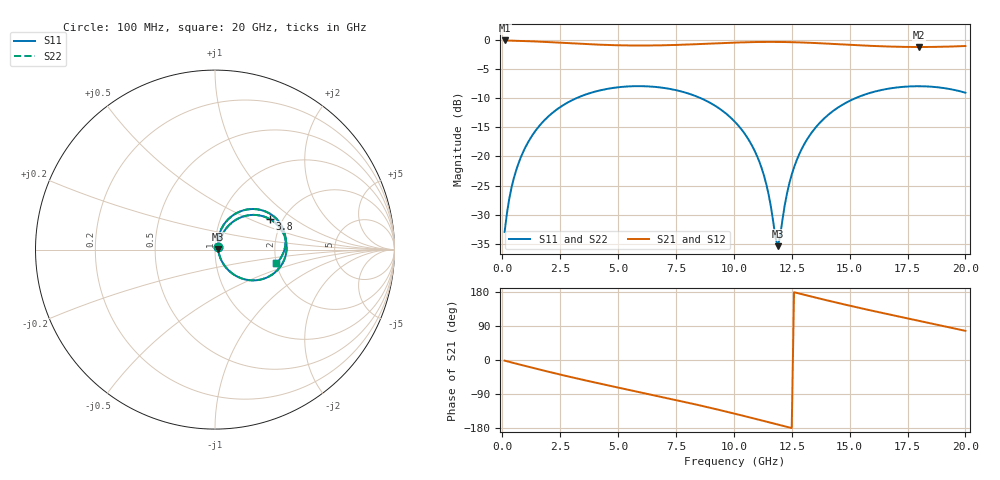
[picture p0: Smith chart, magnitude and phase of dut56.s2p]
! Touchstone file exported from HFSS 2026.1.0
!  File:  C:/ffzhzh/LocalFiles/Ansys_Project_Files/temp_train_TSV_RDL_56_1782967835_45568.aedt
!  Generated:  01:00:54 PM Jul  2, 2026
!  Design:  TSV_RDL
!  Project:  temp_train_TSV_RDL_56_1782967835_45568
! Variables:
!  h_bsmrdl = 4.36um
!  h_ox = 20um
!  h_rdl = 5um
!  h_sub = 98.95um
!  h_tmrdl = 3.3um
!  h_tsv = 98.95um
!  h_via = 3um
!  l_bsmrdl = 915.83um
!  l_sub = 4521.39um
!  l_tmrdl = 311.84um
!  m_sub = 200um
!  pitch = 45.01um
!  r_tsv = 11.96um
!  s_tmrdl = 10um
!  w_bsmrdl = 26.1um
!  w_sub = 500um
!  w_tmrdl = 16.08um
!  x_tsv_center1 = 319.88um
!  x_tsv_center2 = 1261.81um
!  x_tsv_center3 = 1589.73um
!  x_tsv_center4 = 2531.66um
!  x_tsv_center5 = 2859.58um
!  x_tsv_center6 = 3801.51um
# GHz S MA R 50.000000
! Terminal data exported
! Port[1] = TM_RDL1_1_T1
! Port[2] = TM_RDL5_1_T1
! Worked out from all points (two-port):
!   200 points, 100 MHz to 20 GHz, reference 50 ohm
!   highest |S21| = -0.16 dB at 100 MHz (marker M1); lowest = -1.3 dB at 18 GHz (marker M2)
!   |S21| within 3 dB of the highest: start of sweep to end of sweep
!   lowest |S11| = -35.3 dB at 11.9 GHz (marker M3), VSWR 1.03, Z = 51.7 + j0.29 ohm
!   |S11| at or under -10 dB: start of sweep to 3.222 GHz; 8.55 GHz to 15.27 GHz (6.722 GHz wide, 56.4 % of centre)
!   |S22| runs from -35.4 to -8.0 dB; largest |S21 - S12| = 1.7e-14
!   S11 on the Smith chart (normalised r, x): 100 MHz: 1.04, +0.03; 3.8 GHz: 1.71, +0.67; 20 GHz: 2.00, -0.35
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0.1  0.02262 34.8  0.9817 -1.7  0.9817 -1.7  0.02262 34.8
! Gamma 0 0 0 0
! Port Impedance 50 0 50 0
0.3  0.04338 57.3  0.979 -4.9  0.979 -4.9  0.04338 57.3
0.5  0.06531 62.6  0.9765 -8.1  0.9765 -8.1  0.06531 62.6
1.1  0.1307 62.3  0.9683 -17.4  0.9683 -17.4  0.1307 62.3
2.1  0.23 51.4  0.9484 -32.6  0.9484 -32.6  0.23 51.4
3.5  0.3329 33.2  0.9165 -52.6  0.9165 -52.6  0.3329 33.2
3.8  0.3488 29.3  0.9105 -56.7  0.9105 -56.7  0.3488 29.3
5.3  0.3955 10.3  0.8906 -76.7  0.8906 -76.7  0.3955 10.3
6.8  0.3896 -8.5  0.8915 -96.3  0.8915 -96.3  0.3896 -8.5
8.5  0.3194 -30.2  0.9144 -119.3  0.9144 -119.3  0.3194 -30.2
10.1  0.1927 -50.8  0.9422 -142.6  0.9422 -142.6  0.1927 -50.8
10.7  0.1327 -57.3  0.9496 -151.7  0.9496 -151.7  0.1326 -57.3
11.2  0.07951 -59.8  0.9532 -159.4  0.9532 -159.4  0.07948 -59.8
11.5  0.04749 -55.7  0.954 -164.1  0.954 -164.1  0.04746 -55.7
11.9  0.01708 9.5  0.9534 -170.3  0.9534 -170.3  0.01707 9.6
12.3  0.04868 70.6  0.9509 -176.5  0.9509 -176.5  0.0487 70.7
12.5  0.0699 74.0  0.949 -179.6  0.949 -179.6  0.06993 74.1
13.4  0.1638 68.8  0.9355 166.6  0.9355 166.6  0.1638 68.9
14.8  0.2847 51.6  0.9055 146.2  0.9055 146.2  0.2848 51.6
16.7  0.3806 27.7  0.8709 120.3  0.8709 120.3  0.3806 27.7
18  0.3986 11.8  0.8629 103.4  0.8629 103.4  0.3986 11.8
20  0.3507 -12.7  0.8798 77.0  0.8798 77.0  0.3507 -12.7
